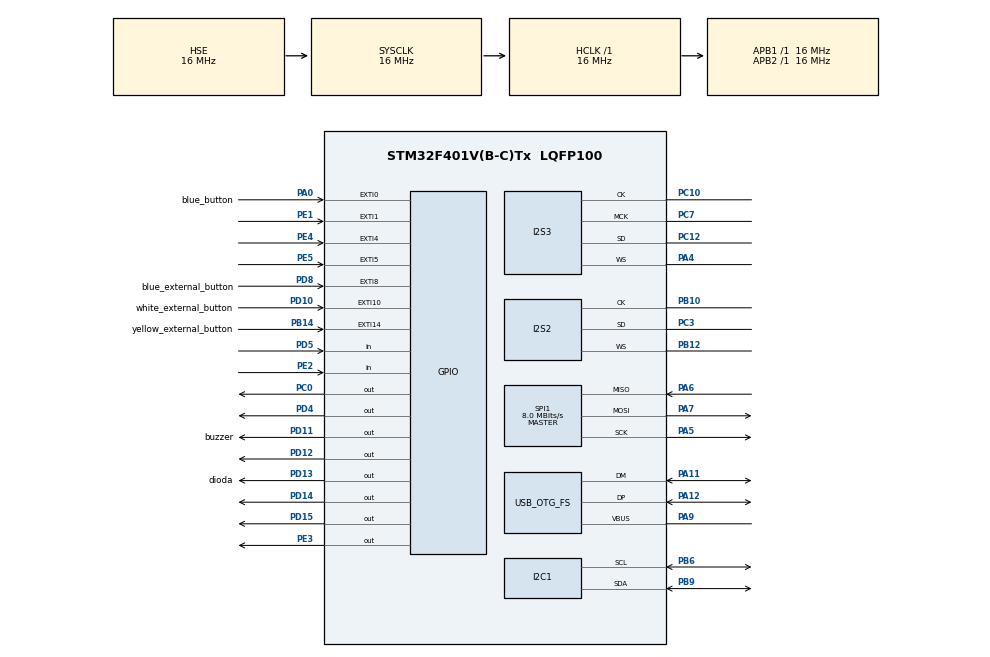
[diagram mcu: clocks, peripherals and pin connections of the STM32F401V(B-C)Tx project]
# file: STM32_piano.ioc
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PA11.GPIO_Speed=GPIO_SPEED_FREQ_VERY_HIGH
PD14.GPIO_ModeDefaultOutputPP=GPIO_MODE_OUTPUT_PP
PC10.GPIO_PuPd=GPIO_NOPULL
SPI1.VirtualType=VM_MASTER
PB10.GPIO_PuPd=GPIO_NOPULL
PB10.Mode=Half_Duplex_Master
PA10.GPIO_PuPd=GPIO_NOPULL
PC12.Signal=I2S3_SD
PB14.GPIO_Label=yellow_external_button
TIM10.ClockDivision=TIM_CLOCKDIVISION_DIV1
PC0.GPIO_ModeDefaultOutputPP=GPIO_MODE_OUTPUT_PP
PD10.GPIO_PuPd=GPIO_PULLDOWN
PC3.GPIO_Speed=GPIO_SPEED_FREQ_LOW
RCC.SYSCLKSource=RCC_SYSCLKSOURCE_HSE
PA6.GPIO_Mode=GPIO_MODE_AF_PP
PD14.GPIO_Speed=GPIO_SPEED_FREQ_LOW
PA4.Mode=Half_Duplex_Master
SPI1.Direction=SPI_DIRECTION_2LINES
PD4.Signal=GPIO_Output
RCC.APB2TimFreq_Value=16000000
VP_TIM10_VS_ClockSourceINT.Mode=Enable_Timer
PB6.Signal=I2C1_SCL
PC7.Signal=I2S3_MCK
PB6.Mode=I2C
SPI1.CalculateBaudRate=8.0 MBits/s
PC3.Signal=I2S2_SD
PD8.Signal=GPXTI8
PE5.Signal=GPXTI5
PE1.Signal=GPXTI1
NVIC.EXTI15_10_IRQn=true\:0\:0\:false\:false\:true\:true\:true
NVIC.TIM1_TRG_COM_TIM11_IRQn=true\:0\:0\:false\:false\:true\:true\:true
USB_OTG_FS.phy_itface=HCD_PHY_EMBEDDED
I2S3.ErrorAudioFreq=1.72 %
PA5.GPIO_PuPd=GPIO_NOPULL
PD5.GPIO_Mode=GPIO_MODE_INPUT
PD4.GPIO_ModeDefaultOutputPP=GPIO_MODE_OUTPUT_PP
PE2.Signal=GPIO_Input
PD14.GPIO_PuPd=GPIO_NOPULL
PB6.GPIO_PuPdOD=GPIO_PULLUP
TIM11.ClockDivision=TIM_CLOCKDIVISION_DIV4
Mcu.Package=LQFP100
PB9.Signal=I2C1_SDA
PB14.GPIO_PuPd=GPIO_PULLDOWN
PD12.Signal=GPIO_Output
PA10.Signal=USB_OTG_FS_ID
PB9.GPIO_PuPd=GPIO_NOPULL
RCC.APB1TimFreq_Value=16000000
PC12.GPIO_PuPd=GPIO_NOPULL
PA6.GPIO_Speed=GPIO_SPEED_FREQ_VERY_HIGH
PA12.GPIO_PuPd=GPIO_NOPULL
PD15.Signal=GPIO_Output
PC0.PinState=GPIO_PIN_RESET
PA5.Mode=Full_Duplex_Master
PD12.PinState=GPIO_PIN_RESET
I2S3.FullDuplexMode=I2S_FULLDUPLEXMODE_DISABLE
PB6.GPIO_PuPd=GPIO_NOPULL
PH1\ -\ OSC_OUT.Mode=HSE-External-Oscillator
PE1.GPIO_PuPd=GPIO_NOPULL
TIM11.Prescaler=9
PC0.Signal=GPIO_Output
PC14-OSC32_IN.Signal=RCC_OSC32_IN
PA0-WKUP.GPIO_Label=blue_button
PA0-WKUP.Signal=GPXTI0
USB_HOST0.BSP.STBoard=false
PD10.Signal=GPXTI10
PD4.PinState=GPIO_PIN_RESET
PC10.GPIO_Mode=GPIO_MODE_AF_PP
PB10.GPIO_Mode=GPIO_MODE_AF_PP
PE5.GPIO_ModeDefaultEXTI=GPIO_MODE_IT_RISING
PD11.GPIO_Speed=GPIO_SPEED_FREQ_LOW
PA9.Signal=USB_OTG_FS_VBUS
I2S2.VirtualMode=I2S_MODE_MASTER
I2S3.VirtualMode=I2S_MODE_MASTER
PC7.GPIO_PuPd=GPIO_NOPULL
PB10.Signal=I2S2_CK
PB14.Signal=GPXTI14
PA5.Signal=SPI1_SCK
PD14.PinState=GPIO_PIN_RESET
PC12.Mode=Half_Duplex_Master
PH1\ -\ OSC_OUT.Signal=RCC_OSC_OUT
USB_HOST.VirtualModeFS=Cdc
PA7.GPIO_Speed=GPIO_SPEED_FREQ_VERY_HIGH
SPI1.Mode=SPI_MODE_MASTER
PD4.GPIO_Speed=GPIO_SPEED_FREQ_LOW
PE3.GPIO_PuPd=GPIO_NOPULL
PA13.Mode=Serial_Wire
PE4.GPIO_PuPd=GPIO_NOPULL
I2S2.FullDuplexMode=I2S_FULLDUPLEXMODE_DISABLE
PA4.Signal=I2S3_WS
PC12.GPIO_Mode=GPIO_MODE_AF_PP
PE3.GPIO_ModeDefaultOutputPP=GPIO_MODE_OUTPUT_PP
PE3.GPIO_Speed=GPIO_SPEED_FREQ_LOW
PD11.Signal=GPIO_Output
PD15.GPIO_ModeDefaultOutputPP=GPIO_MODE_OUTPUT_PP
PA11.Signal=USB_OTG_FS_DM
ProjectManager.HeapSize=0x200
PD11.GPIO_ModeDefaultOutputPP=GPIO_MODE_OUTPUT_PP
NVIC.TIM1_UP_TIM10_IRQn=true\:0\:0\:false\:false\:true\:true\:true
USB_HOST.USBH_HandleTypeDef=hUsbHostFS
NVIC.PriorityGroup=NVIC_PRIORITYGROUP_0
PE3.Signal=GPIO_Output
PA0-WKUP.GPIO_PuPd=GPIO_PULLDOWN
I2S3.Instance=SPI$Index
PB6.GPIO_Speed=GPIO_SPEED_FREQ_VERY_HIGH
USB_HOST0.BSP.mode=Output
Mcu.Family=STM32F4
PC3.Mode=Half_Duplex_Master
PC3.GPIO_Mode=GPIO_MODE_AF_PP
PA6.Mode=Full_Duplex_Master
RCC.CortexFreq_Value=16000000
PB10.GPIO_Speed=GPIO_SPEED_FREQ_LOW
PB6.GPIO_Mode=GPIO_MODE_AF_OD
PD15.GPIO_Speed=GPIO_SPEED_FREQ_LOW
PC10.Signal=I2S3_CK
PA7.GPIO_Mode=GPIO_MODE_AF_PP
PA11.Mode=Host_Only
PC10.GPIO_Speed=GPIO_SPEED_FREQ_LOW
PA11.GPIO_PuPd=GPIO_NOPULL
PD8.GPIO_PuPd=GPIO_PULLDOWN
PD11.PinState=GPIO_PIN_RESET
ProjectManager.StackSize=0x400
PD13.Signal=GPIO_Output
PD11.GPIO_PuPd=GPIO_NOPULL
PA12.Signal=USB_OTG_FS_DP
PH0\ -\ OSC_IN.Signal=RCC_OSC_IN
PE5.GPIO_PuPd=GPIO_NOPULL
PD11.GPIO_Label=buzzer
RCC.HCLKFreq_Value=16000000
USB_HOST0.BSP.ip=GPIO
RCC.AHBFreq_Value=16000000
PE3.PinState=GPIO_PIN_RESET
PA9.GPIO_Mode=GPIO_MODE_INPUT
TIM10.AutoReloadPreload=TIM_AUTORELOAD_PRELOAD_DISABLE
RCC.HSE_VALUE=16000000
PA4.GPIO_PuPd=GPIO_NOPULL
PD15.PinState=GPIO_PIN_RESET
PA4.GPIO_Speed=GPIO_SPEED_FREQ_LOW
PA6.GPIO_PuPd=GPIO_NOPULL
PC14-OSC32_IN.Mode=LSE-External-Oscillator
PA14.Mode=Serial_Wire
PC7.GPIO_Mode=GPIO_MODE_AF_PP
PD12.GPIO_ModeDefaultOutputPP=GPIO_MODE_OUTPUT_PP
USB_HOST0.BSP.i2creg=0
PE4.Signal=GPXTI4
USB_HOST0.BSP.i2caddr=0
PD13.GPIO_Label=dioda
PA6.Signal=SPI1_MISO
PB12.Mode=Half_Duplex_Master
NVIC.OTG_FS_IRQn=true\:0\:0\:false\:false\:true\:true\:true
PD15.GPIO_PuPd=GPIO_NOPULL
USB_OTG_FS.VirtualMode=Host_Only
PA10.GPIO_Speed=GPIO_SPEED_FREQ_VERY_HIGH
USB_HOST0.BSP.name=Drive_VBUS_FS
PB9.GPIO_Speed=GPIO_SPEED_FREQ_VERY_HIGH
PC0.GPIO_PuPd=GPIO_NOPULL
SPI1.BaudRatePrescaler=SPI_BAUDRATEPRESCALER_2
PA12.GPIO_Speed=GPIO_SPEED_FREQ_VERY_HIGH
TIM10.Prescaler=99
PC15-OSC32_OUT.Mode=LSE-External-Oscillator
PD12.GPIO_Speed=GPIO_SPEED_FREQ_LOW
PA7.Mode=Full_Duplex_Master
I2S2.Instance=SPI$Index
USB_HOST0.BSP.solution=PC0
PC10.Mode=Half_Duplex_Master
USB_HOST.BSP.number=1
PE4.GPIO_ModeDefaultEXTI=GPIO_MODE_IT_RISING
PD5.Signal=GPIO_Input
PE1.GPIO_ModeDefaultEXTI=GPIO_MODE_IT_RISING
PA9.GPIO_PuPd=GPIO_NOPULL
VP_TIM11_VS_ClockSourceINT.Mode=Enable_Timer
PD8.GPIO_Label=blue_external_button
PA10.GPIO_Mode=GPIO_MODE_AF_PP
PA13.Signal=SYS_JTMS-SWDIO
PD4.GPIO_PuPd=GPIO_NOPULL
PA9.Mode=Activate_VBUS
PH0\ -\ OSC_IN.Mode=HSE-External-Oscillator
PC0.GPIO_Speed=GPIO_SPEED_FREQ_LOW
ProjectManager.TargetToolchain=TrueSTUDIO
PB9.Mode=I2C
PD10.GPIO_Label=white_external_button
PC15-OSC32_OUT.Signal=RCC_OSC32_OUT
PA7.GPIO_PuPd=GPIO_NOPULL
board=STM32F401C-DISCO
PD13.GPIO_Speed=GPIO_SPEED_FREQ_LOW
PC7.GPIO_Speed=GPIO_SPEED_FREQ_LOW
RCC.VCOOutputFreq_Value=144000000
TIM11.Period=799
PB9.GPIO_Mode=GPIO_MODE_AF_OD
PA12.GPIO_Mode=GPIO_MODE_AF_PP
TIM10.Period=271
PA4.GPIO_Mode=GPIO_MODE_AF_PP
RCC.APB2Freq_Value=16000000
USB_HOST0.BSP.api=Unknown
PD13.GPIO_PuPd=GPIO_NOPULL
PD5.GPIO_PuPd=GPIO_NOPULL
Mcu.Name=STM32F401V(B-C)Tx
PD14.Signal=GPIO_Output
RCC.48MHZClocksFreq_Value=48000000
PB3.Signal=SYS_JTDO-SWO
NVIC.EXTI0_IRQn=true\:0\:0\:false\:false\:true\:true\:true
RCC.SYSCLKFreq_VALUE=16000000
PA12.Mode=Host_Only
I2S2.ErrorAudioFreq=0.15 %
VP_USB_HOST_VS_USB_HOST_CDC_FS.Mode=CDC_FS
PD13.GPIO_ModeDefaultOutputPP=GPIO_MODE_OUTPUT_PP
NVIC.EXTI9_5_IRQn=true\:0\:0\:false\:false\:true\:true\:true
PA14.Signal=SYS_JTCK-SWCLK
PB9.GPIO_PuPdOD=GPIO_PULLUP
RCC.HSI_VALUE=16000000
PA5.GPIO_Speed=GPIO_SPEED_FREQ_VERY_HIGH
RCC.PLLQ=3
I2S3.RealAudioFreq=8.138 KHz
RCC.PLLM=8
RCC.PLLN=72
PD13.PinState=GPIO_PIN_RESET
PC7.Mode=Master_Clock_Activated
PA11.GPIO_Mode=GPIO_MODE_AF_PP
RCC.APB1Freq_Value=16000000
PA5.GPIO_Mode=GPIO_MODE_AF_PP
PC12.GPIO_Speed=GPIO_SPEED_FREQ_LOW
I2S2.RealAudioFreq=8.012 KHz
RCC.PLLI2SN=50
PB12.Signal=I2S2_WS
PC3.GPIO_PuPd=GPIO_NOPULL
PD12.GPIO_PuPd=GPIO_NOPULL
PA7.Signal=SPI1_MOSI
USB_HOST0.BSP.instance=PC0

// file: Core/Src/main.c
/* USER CODE BEGIN Header */
/**
 ******************************************************************************
 * @file           : main.c
 * @brief          : Main program body
 ******************************************************************************
 * @attention
 *
 * <h2><center>&copy; Copyright (c) 2020 STMicroelectronics.
 * All rights reserved.</center></h2>
 *
 * This software component is licensed by ST under Ultimate Liberty license
 * SLA0044, the "License"; You may not use this file except in compliance with
 * the License. You may obtain a copy of the License at:
 *                             www.st.com/SLA0044
 *
 ******************************************************************************
 */
/* USER CODE END Header */
#include "main.h"
#include "usb_host.h"

I2C_HandleTypeDef hi2c1;

I2S_HandleTypeDef hi2s2;
I2S_HandleTypeDef hi2s3;

SPI_HandleTypeDef hspi1;

TIM_HandleTypeDef htim10;
TIM_HandleTypeDef htim11;

void SystemClock_Config(void);
static void MX_GPIO_Init(void);
static void MX_I2C1_Init(void);
static void MX_I2S2_Init(void);
static void MX_I2S3_Init(void);
static void MX_SPI1_Init(void);
static void MX_TIM10_Init(void);
static void MX_TIM11_Init(void);
void MX_USB_HOST_Process(void);

/* USER CODE BEGIN PFP */

void HAL_GPIO_EXTI_Callback(uint16_t GPIO_Pin)
{
	if(GPIO_Pin==white_external_button_Pin)
	{
		htim10.Instance->ARR = 271;
	}
	if(GPIO_Pin==blue_external_button_Pin)
	{
		htim10.Instance->ARR = 203;
	}
	if(GPIO_Pin==yellow_external_button_Pin)
	{
		htim10.Instance->ARR = 152;
	}

}

void HAL_TIM_PeriodElapsedCallback(TIM_HandleTypeDef *htim)
{
	if(htim->Instance == TIM10)
	{
		if(HAL_GPIO_ReadPin(GPIOD, white_external_button_Pin) == GPIO_PIN_SET)
		{
			HAL_GPIO_TogglePin(GPIOD,GPIO_PIN_11);
		}
		if (HAL_GPIO_ReadPin(GPIOD, blue_external_button_Pin) == GPIO_PIN_SET)
		{
			HAL_GPIO_TogglePin(GPIOD,GPIO_PIN_11);
		}
		if(HAL_GPIO_ReadPin(GPIOB, yellow_external_button_Pin) == GPIO_PIN_SET)
		{
			HAL_GPIO_TogglePin(GPIOD,GPIO_PIN_11);
		}
	}
}
/* USER CODE END PFP */

int main(void)
{

	/* MCU Configuration--------------------------------------------------------*/

	/* Reset of all peripherals, Initializes the Flash interface and the Systick. */
	HAL_Init();

	/* Configure the system clock */
	SystemClock_Config();

	/* Initialize all configured peripherals */
	MX_GPIO_Init();
	MX_I2C1_Init();
	MX_I2S2_Init();
	MX_I2S3_Init();
	MX_SPI1_Init();
	MX_USB_HOST_Init();
	MX_TIM10_Init();
	MX_TIM11_Init();
	/* USER CODE BEGIN 2 */
	HAL_TIM_Base_Start_IT(&htim10);
	/* USER CODE END 2 */

	/* Infinite loop */
	while(1)
	{
		MX_USB_HOST_Process();

	}
}

void SystemClock_Config(void)
{
	RCC_OscInitTypeDef RCC_OscInitStruct = {0};
	RCC_ClkInitTypeDef RCC_ClkInitStruct = {0};
	RCC_PeriphCLKInitTypeDef PeriphClkInitStruct = {0};

	/** Configure the main internal regulator output voltage
	 */
	__HAL_RCC_PWR_CLK_ENABLE();
	__HAL_PWR_VOLTAGESCALING_CONFIG(PWR_REGULATOR_VOLTAGE_SCALE2);
	/** Initializes the RCC Oscillators according to the specified parameters
	 * in the RCC_OscInitTypeDef structure.
	 */
	RCC_OscInitStruct.OscillatorType = RCC_OSCILLATORTYPE_HSE;
	RCC_OscInitStruct.HSEState = RCC_HSE_ON;
	RCC_OscInitStruct.PLL.PLLState = RCC_PLL_ON;
	RCC_OscInitStruct.PLL.PLLSource = RCC_PLLSOURCE_HSE;
	RCC_OscInitStruct.PLL.PLLM = 8;
	RCC_OscInitStruct.PLL.PLLN = 72;
	RCC_OscInitStruct.PLL.PLLP = RCC_PLLP_DIV2;
	RCC_OscInitStruct.PLL.PLLQ = 3;
	if (HAL_RCC_OscConfig(&RCC_OscInitStruct) != HAL_OK)
	{
		Error_Handler();
	}
	/** Initializes the CPU, AHB and APB buses clocks
	 */
	RCC_ClkInitStruct.ClockType = RCC_CLOCKTYPE_HCLK|RCC_CLOCKTYPE_SYSCLK
			|RCC_CLOCKTYPE_PCLK1|RCC_CLOCKTYPE_PCLK2;
	RCC_ClkInitStruct.SYSCLKSource = RCC_SYSCLKSOURCE_HSE;
	RCC_ClkInitStruct.AHBCLKDivider = RCC_SYSCLK_DIV1;
	RCC_ClkInitStruct.APB1CLKDivider = RCC_HCLK_DIV1;
	RCC_ClkInitStruct.APB2CLKDivider = RCC_HCLK_DIV1;

	if (HAL_RCC_ClockConfig(&RCC_ClkInitStruct, FLASH_LATENCY_0) != HAL_OK)
	{
		Error_Handler();
	}
	PeriphClkInitStruct.PeriphClockSelection = RCC_PERIPHCLK_I2S;
	PeriphClkInitStruct.PLLI2S.PLLI2SN = 50;
	PeriphClkInitStruct.PLLI2S.PLLI2SR = 2;
	if (HAL_RCCEx_PeriphCLKConfig(&PeriphClkInitStruct) != HAL_OK)
	{
		Error_Handler();
	}
}

static void MX_I2C1_Init(void)
{

	hi2c1.Instance = I2C1;
	hi2c1.Init.ClockSpeed = 100000;
	hi2c1.Init.DutyCycle = I2C_DUTYCYCLE_2;
	hi2c1.Init.OwnAddress1 = 0;
	hi2c1.Init.AddressingMode = I2C_ADDRESSINGMODE_7BIT;
	hi2c1.Init.DualAddressMode = I2C_DUALADDRESS_DISABLE;
	hi2c1.Init.OwnAddress2 = 0;
	hi2c1.Init.GeneralCallMode = I2C_GENERALCALL_DISABLE;
	hi2c1.Init.NoStretchMode = I2C_NOSTRETCH_DISABLE;
	if (HAL_I2C_Init(&hi2c1) != HAL_OK)
	{
		Error_Handler();
	}

}

static void MX_I2S2_Init(void)
{

	hi2s2.Instance = SPI2;
	hi2s2.Init.Mode = I2S_MODE_MASTER_TX;
	hi2s2.Init.Standard = I2S_STANDARD_PHILIPS;
	hi2s2.Init.DataFormat = I2S_DATAFORMAT_16B;
	hi2s2.Init.MCLKOutput = I2S_MCLKOUTPUT_DISABLE;
	hi2s2.Init.AudioFreq = I2S_AUDIOFREQ_8K;
	hi2s2.Init.CPOL = I2S_CPOL_LOW;
	hi2s2.Init.ClockSource = I2S_CLOCK_PLL;
	hi2s2.Init.FullDuplexMode = I2S_FULLDUPLEXMODE_DISABLE;
	if (HAL_I2S_Init(&hi2s2) != HAL_OK)
	{
		Error_Handler();
	}

}

static void MX_I2S3_Init(void)
{

	hi2s3.Instance = SPI3;
	hi2s3.Init.Mode = I2S_MODE_MASTER_TX;
	hi2s3.Init.Standard = I2S_STANDARD_PHILIPS;
	hi2s3.Init.DataFormat = I2S_DATAFORMAT_16B;
	hi2s3.Init.MCLKOutput = I2S_MCLKOUTPUT_ENABLE;
	hi2s3.Init.AudioFreq = I2S_AUDIOFREQ_8K;
	hi2s3.Init.CPOL = I2S_CPOL_LOW;
	hi2s3.Init.ClockSource = I2S_CLOCK_PLL;
	hi2s3.Init.FullDuplexMode = I2S_FULLDUPLEXMODE_DISABLE;
	if (HAL_I2S_Init(&hi2s3) != HAL_OK)
	{
		Error_Handler();
	}

}

static void MX_SPI1_Init(void)
{

	/* SPI1 parameter configuration*/
	hspi1.Instance = SPI1;
	hspi1.Init.Mode = SPI_MODE_MASTER;
	hspi1.Init.Direction = SPI_DIRECTION_2LINES;
	hspi1.Init.DataSize = SPI_DATASIZE_8BIT;
	hspi1.Init.CLKPolarity = SPI_POLARITY_LOW;
	hspi1.Init.CLKPhase = SPI_PHASE_1EDGE;
	hspi1.Init.NSS = SPI_NSS_SOFT;
	hspi1.Init.BaudRatePrescaler = SPI_BAUDRATEPRESCALER_2;
	hspi1.Init.FirstBit = SPI_FIRSTBIT_MSB;
	hspi1.Init.TIMode = SPI_TIMODE_DISABLE;
	hspi1.Init.CRCCalculation = SPI_CRCCALCULATION_DISABLE;
	hspi1.Init.CRCPolynomial = 10;
	if (HAL_SPI_Init(&hspi1) != HAL_OK)
	{
		Error_Handler();
	}

}

static void MX_TIM10_Init(void)
{

	htim10.Instance = TIM10;
	htim10.Init.Prescaler = 99;
	htim10.Init.CounterMode = TIM_COUNTERMODE_UP;
	htim10.Init.Period = 542;
	htim10.Init.ClockDivision = TIM_CLOCKDIVISION_DIV1;
	htim10.Init.AutoReloadPreload = TIM_AUTORELOAD_PRELOAD_DISABLE;
	if (HAL_TIM_Base_Init(&htim10) != HAL_OK)
	{
		Error_Handler();
	}

}

static void MX_TIM11_Init(void)
{

	htim11.Instance = TIM11;
	htim11.Init.Prescaler = 9;
	htim11.Init.CounterMode = TIM_COUNTERMODE_UP;
	htim11.Init.Period = 799;
	htim11.Init.ClockDivision = TIM_CLOCKDIVISION_DIV4;
	htim11.Init.AutoReloadPreload = TIM_AUTORELOAD_PRELOAD_DISABLE;
	if (HAL_TIM_Base_Init(&htim11) != HAL_OK)
	{
		Error_Handler();
	}

}

static void MX_GPIO_Init(void)
{
	GPIO_InitTypeDef GPIO_InitStruct = {0};

	/* GPIO Ports Clock Enable */
	__HAL_RCC_GPIOE_CLK_ENABLE();
	__HAL_RCC_GPIOC_CLK_ENABLE();
	__HAL_RCC_GPIOH_CLK_ENABLE();
	__HAL_RCC_GPIOA_CLK_ENABLE();
	__HAL_RCC_GPIOB_CLK_ENABLE();
	__HAL_RCC_GPIOD_CLK_ENABLE();

	/*Configure GPIO pin Output Level */
	HAL_GPIO_WritePin(GPIOE, GPIO_PIN_3, GPIO_PIN_RESET);

	/*Configure GPIO pin Output Level */
	HAL_GPIO_WritePin(GPIOC, GPIO_PIN_0, GPIO_PIN_RESET);

	/*Configure GPIO pin Output Level */
	HAL_GPIO_WritePin(GPIOD, buzzer_Pin|GPIO_PIN_12|dioda_Pin|GPIO_PIN_14
			|GPIO_PIN_15|GPIO_PIN_4, GPIO_PIN_RESET);

	/*Configure GPIO pin : PE2 */
	GPIO_InitStruct.Pin = GPIO_PIN_2;
	GPIO_InitStruct.Mode = GPIO_MODE_INPUT;
	GPIO_InitStruct.Pull = GPIO_NOPULL;
	HAL_GPIO_Init(GPIOE, &GPIO_InitStruct);

	/*Configure GPIO pin : PE3 */
	GPIO_InitStruct.Pin = GPIO_PIN_3;
	GPIO_InitStruct.Mode = GPIO_MODE_OUTPUT_PP;
	GPIO_InitStruct.Pull = GPIO_NOPULL;
	GPIO_InitStruct.Speed = GPIO_SPEED_FREQ_LOW;
	HAL_GPIO_Init(GPIOE, &GPIO_InitStruct);

	/*Configure GPIO pins : PE4 PE5 PE1 */
	GPIO_InitStruct.Pin = GPIO_PIN_4|GPIO_PIN_5|GPIO_PIN_1;
	GPIO_InitStruct.Mode = GPIO_MODE_IT_RISING;
	GPIO_InitStruct.Pull = GPIO_NOPULL;
	HAL_GPIO_Init(GPIOE, &GPIO_InitStruct);

	/*Configure GPIO pin : PC0 */
	GPIO_InitStruct.Pin = GPIO_PIN_0;
	GPIO_InitStruct.Mode = GPIO_MODE_OUTPUT_PP;
	GPIO_InitStruct.Pull = GPIO_NOPULL;
	GPIO_InitStruct.Speed = GPIO_SPEED_FREQ_LOW;
	HAL_GPIO_Init(GPIOC, &GPIO_InitStruct);

	/*Configure GPIO pin : blue_button_Pin */
	GPIO_InitStruct.Pin = blue_button_Pin;
	GPIO_InitStruct.Mode = GPIO_MODE_IT_RISING;
	GPIO_InitStruct.Pull = GPIO_PULLDOWN;
	HAL_GPIO_Init(blue_button_GPIO_Port, &GPIO_InitStruct);

	/*Configure GPIO pin : yellow_external_button_Pin */
	GPIO_InitStruct.Pin = yellow_external_button_Pin;
	GPIO_InitStruct.Mode = GPIO_MODE_IT_RISING;
	GPIO_InitStruct.Pull = GPIO_PULLDOWN;
	HAL_GPIO_Init(yellow_external_button_GPIO_Port, &GPIO_InitStruct);

	/*Configure GPIO pins : blue_external_button_Pin white_external_button_Pin */
	GPIO_InitStruct.Pin = blue_external_button_Pin|white_external_button_Pin;
	GPIO_InitStruct.Mode = GPIO_MODE_IT_RISING;
	GPIO_InitStruct.Pull = GPIO_PULLDOWN;
	HAL_GPIO_Init(GPIOD, &GPIO_InitStruct);

	/*Configure GPIO pins : buzzer_Pin PD12 dioda_Pin PD14
                           PD15 PD4 */
	GPIO_InitStruct.Pin = buzzer_Pin|GPIO_PIN_12|dioda_Pin|GPIO_PIN_14
			|GPIO_PIN_15|GPIO_PIN_4;
	GPIO_InitStruct.Mode = GPIO_MODE_OUTPUT_PP;
	GPIO_InitStruct.Pull = GPIO_NOPULL;
	GPIO_InitStruct.Speed = GPIO_SPEED_FREQ_LOW;
	HAL_GPIO_Init(GPIOD, &GPIO_InitStruct);

	/*Configure GPIO pin : PD5 */
	GPIO_InitStruct.Pin = GPIO_PIN_5;
	GPIO_InitStruct.Mode = GPIO_MODE_INPUT;
	GPIO_InitStruct.Pull = GPIO_NOPULL;
	HAL_GPIO_Init(GPIOD, &GPIO_InitStruct);

	/* EXTI interrupt init*/
	HAL_NVIC_SetPriority(EXTI0_IRQn, 0, 0);
	HAL_NVIC_EnableIRQ(EXTI0_IRQn);

	HAL_NVIC_SetPriority(EXTI9_5_IRQn, 0, 0);
	HAL_NVIC_EnableIRQ(EXTI9_5_IRQn);

	HAL_NVIC_SetPriority(EXTI15_10_IRQn, 0, 0);
	HAL_NVIC_EnableIRQ(EXTI15_10_IRQn);

}

void Error_Handler(void)
{
}

/************************ (C) COPYRIGHT STMicroelectronics *****END OF FILE****/
